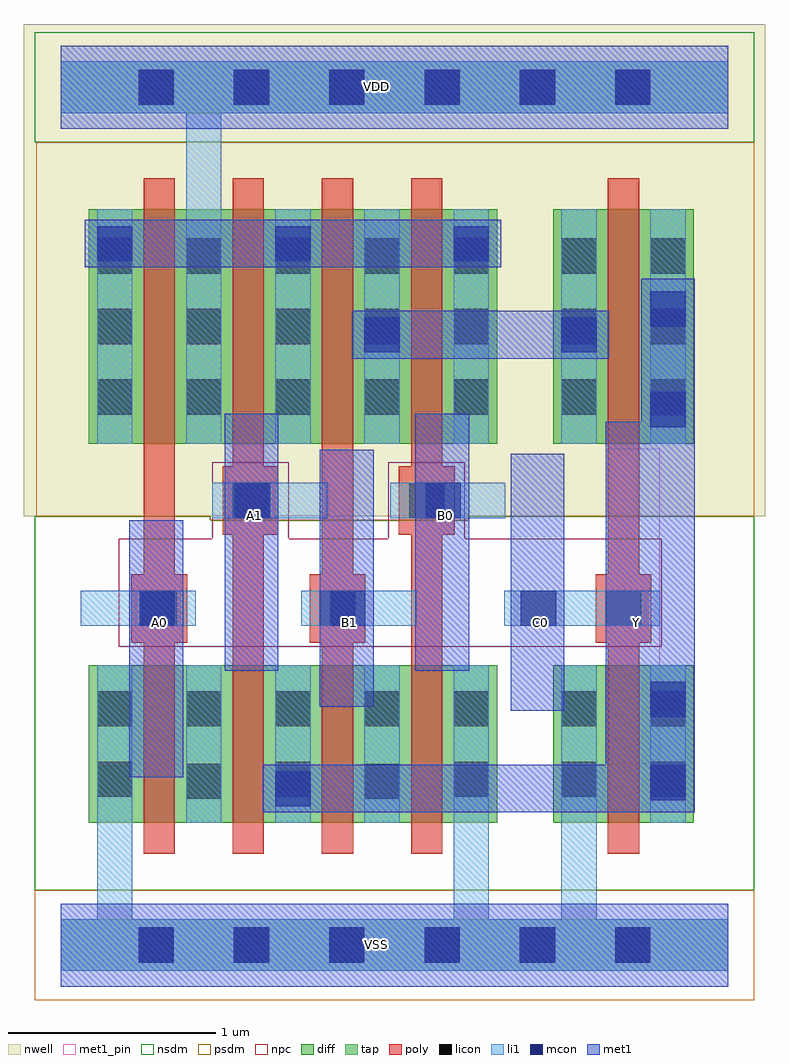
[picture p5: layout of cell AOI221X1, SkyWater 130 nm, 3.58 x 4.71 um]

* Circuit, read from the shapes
.subckt AOI221X1 A0 A1 B0 B1 C0 VDD VSS Y
XM1 n1 A0 VSS VSS sky130_fd_pr__nfet_01v8 w=0.76 l=0.15
XM2 Y A1 n1 VSS sky130_fd_pr__nfet_01v8 w=0.76 l=0.15
XM3 n2 B1 Y VSS sky130_fd_pr__nfet_01v8 w=0.76 l=0.15
XM4 VSS B0 n2 VSS sky130_fd_pr__nfet_01v8 w=0.76 l=0.15
XM5 Y C0 VSS VSS sky130_fd_pr__nfet_01v8 w=0.76 l=0.15
XM6 VDD A0 n3 VDD sky130_fd_pr__pfet_01v8 w=1.13 l=0.15
XM7 n3 A1 VDD VDD sky130_fd_pr__pfet_01v8 w=1.13 l=0.15
XM8 n4 B1 n3 VDD sky130_fd_pr__pfet_01v8 w=1.13 l=0.15
XM9 n3 B0 n4 VDD sky130_fd_pr__pfet_01v8 w=1.13 l=0.15
XM10 Y C0 n4 VDD sky130_fd_pr__pfet_01v8 w=1.13 l=0.15
.ends

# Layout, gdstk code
from math import pi, radians
import gdstk
lib = gdstk.Library(unit=1e-6, precision=1e-09)
def R(c, l, rs):  # rectangles x0, y0, x1, y1
    for r in rs: c.add(gdstk.rectangle(r[:2], r[2:], *l))
def A(c, l, x, y, w, h, nx, ny, dx, dy):  # array of equal rectangles
    R(c, l, [(x+i*dx, y+j*dy, x+i*dx+w, y+j*dy+h) for i in range(nx) for j in range(ny)])
def P(c, l, *ps):  # polygons
    for p in ps: c.add(gdstk.Polygon(p, *l))
nwell = (64, 20)
diff = (65, 20)
tap = (65, 44)
poly = (66, 20)
licon = (66, 44)
li1 = (67, 20)
mcon = (67, 44)
met1_pin = (68, 16)
met1 = (68, 20)
nsdm = (93, 44)
psdm = (94, 20)
npc = (95, 20)

nfet_01v8_cdns_716492285 = lib.new_cell('nfet_01v8_CDNS_716492285220')
R(nfet_01v8_cdns_716492285, diff, [(-0.265,0,0,0.76), (0,0,0.15,0.76), (0.15,0,0.415,0.76)])
R(nfet_01v8_cdns_716492285, poly, [(0,-0.15,0.15,-0.095), (0,-0.095,0.15,0), (0,0,0.15,0.76), (0,0.76,0.15,0.855), (0,0.855,0.15,0.91)])
R(nfet_01v8_cdns_716492285, licon, [(-0.225,0.125,-0.055,0.295), (0.205,0.125,0.375,0.295), (-0.225,0.465,-0.055,0.635), (0.205,0.465,0.375,0.635)])
R(nfet_01v8_cdns_716492285, li1, [(-0.225,0,-0.055,0.76), (0.205,0,0.375,0.76)])
R(nfet_01v8_cdns_716492285, nsdm, [(-0.405,-0.13,0.555,0.89)])

pfet_01v8_cdns_716492285 = lib.new_cell('pfet_01v8_CDNS_716492285222')
R(pfet_01v8_cdns_716492285, nwell, [(-0.445,-0.18,0.595,1.31)])
R(pfet_01v8_cdns_716492285, diff, [(-0.265,0,0,1.13), (0,0,0.15,1.13), (0.15,0,0.415,1.13)])
R(pfet_01v8_cdns_716492285, poly, [(0,-0.15,0.15,-0.095), (0,-0.095,0.15,0), (0,0,0.15,1.13), (0,1.13,0.15,1.225), (0,1.225,0.15,1.28)])
A(pfet_01v8_cdns_716492285, licon, -0.225, 0.14, 0.17, 0.17, 1, 3, 0, 0.34)
A(pfet_01v8_cdns_716492285, licon, 0.205, 0.14, 0.17, 0.17, 1, 3, 0, 0.34)
R(pfet_01v8_cdns_716492285, li1, [(-0.225,0,-0.055,1.13), (0.205,0,0.375,1.13)])
R(pfet_01v8_cdns_716492285, psdm, [(-0.405,-0.13,0.555,1.26)])

c_nfet_01v8_cdns_716492285 = lib.new_cell('nfet_01v8_CDNS_71649228522221')
R(c_nfet_01v8_cdns_716492285, diff, [(-0.265,0,0,0.76), (0,0,0.15,0.76), (0.15,0,0.205,0.76)])
R(c_nfet_01v8_cdns_716492285, poly, [(0,-0.15,0.15,-0.095), (0,-0.095,0.15,0), (0,0,0.15,0.76), (0,0.76,0.15,0.855), (0,0.855,0.15,0.91)])
R(c_nfet_01v8_cdns_716492285, licon, [(-0.225,0.125,-0.055,0.295), (-0.225,0.465,-0.055,0.635)])
R(c_nfet_01v8_cdns_716492285, li1, [(-0.225,0,-0.055,0.76)])
R(c_nfet_01v8_cdns_716492285, nsdm, [(-0.405,-0.13,0.215,0.89)])

c_nfet_01v8_cdns_716492285_ = lib.new_cell('nfet_01v8_CDNS_71649228522165')
R(c_nfet_01v8_cdns_716492285_, diff, [(-0.265,0,0,0.76), (0,0,0.15,0.76), (0.15,0,0.375,0.76)])
R(c_nfet_01v8_cdns_716492285_, poly, [(0,-0.15,0.15,-0.095), (0,-0.095,0.15,0), (0,0,0.15,0.76), (0,0.76,0.15,0.855), (0,0.855,0.15,0.91)])
R(c_nfet_01v8_cdns_716492285_, licon, [(-0.225,0.125,-0.055,0.295), (-0.225,0.465,-0.055,0.635)])
R(c_nfet_01v8_cdns_716492285_, li1, [(-0.225,0,-0.055,0.76)])
R(c_nfet_01v8_cdns_716492285_, nsdm, [(-0.405,-0.13,0.385,0.89)])

c_pfet_01v8_cdns_716492285 = lib.new_cell('pfet_01v8_CDNS_71649228522145')
R(c_pfet_01v8_cdns_716492285, nwell, [(-0.445,-0.18,0.385,1.31)])
R(c_pfet_01v8_cdns_716492285, diff, [(-0.265,0,0,1.13), (0,0,0.15,1.13), (0.15,0,0.205,1.13)])
R(c_pfet_01v8_cdns_716492285, poly, [(0,-0.15,0.15,-0.095), (0,-0.095,0.15,0), (0,0,0.15,1.13), (0,1.13,0.15,1.225), (0,1.225,0.15,1.28)])
A(c_pfet_01v8_cdns_716492285, licon, -0.225, 0.14, 0.17, 0.17, 1, 3, 0, 0.34)
R(c_pfet_01v8_cdns_716492285, li1, [(-0.225,0,-0.055,1.13)])
R(c_pfet_01v8_cdns_716492285, psdm, [(-0.405,-0.13,0.215,1.26)])

c_pfet_01v8_cdns_716492285_ = lib.new_cell('pfet_01v8_CDNS_7164922852212')
R(c_pfet_01v8_cdns_716492285_, nwell, [(-0.405,-0.18,0.595,1.31)])
R(c_pfet_01v8_cdns_716492285_, diff, [(-0.225,0,0,1.13), (0,0,0.15,1.13), (0.15,0,0.415,1.13)])
R(c_pfet_01v8_cdns_716492285_, poly, [(0,-0.15,0.15,-0.095), (0,-0.095,0.15,0), (0,0,0.15,1.13), (0,1.13,0.15,1.225), (0,1.225,0.15,1.28)])
A(c_pfet_01v8_cdns_716492285_, licon, -0.225, 0.14, 0.17, 0.17, 1, 3, 0, 0.34)
A(c_pfet_01v8_cdns_716492285_, licon, 0.205, 0.14, 0.17, 0.17, 1, 3, 0, 0.34)
R(c_pfet_01v8_cdns_716492285_, li1, [(-0.225,0,-0.055,1.13), (0.205,0,0.375,1.13)])
R(c_pfet_01v8_cdns_716492285_, psdm, [(-0.235,-0.13,0.555,1.26)])

c_nfet_01v8_cdns_716492285__ = lib.new_cell('nfet_01v8_CDNS_71649228522127')
R(c_nfet_01v8_cdns_716492285__, diff, [(-0.055,0,0,0.76), (0,0,0.15,0.76), (0.15,0,0.375,0.76)])
R(c_nfet_01v8_cdns_716492285__, poly, [(0,-0.15,0.15,-0.095), (0,-0.095,0.15,0), (0,0,0.15,0.76), (0,0.76,0.15,0.855), (0,0.855,0.15,0.91)])
R(c_nfet_01v8_cdns_716492285__, licon, [(0.205,0.125,0.375,0.295), (0.205,0.465,0.375,0.635)])
R(c_nfet_01v8_cdns_716492285__, li1, [(0.205,0,0.375,0.76)])
R(c_nfet_01v8_cdns_716492285__, nsdm, [(-0.065,-0.13,0.385,0.89)])

c_pfet_01v8_cdns_716492285__ = lib.new_cell('pfet_01v8_CDNS_71649228522222')
R(c_pfet_01v8_cdns_716492285__, nwell, [(-0.235,-0.18,0.555,1.31)])
R(c_pfet_01v8_cdns_716492285__, diff, [(-0.055,0,0,1.13), (0,0,0.15,1.13), (0.15,0,0.375,1.13)])
R(c_pfet_01v8_cdns_716492285__, poly, [(0,-0.15,0.15,-0.095), (0,-0.095,0.15,0), (0,0,0.15,1.13), (0,1.13,0.15,1.225), (0,1.225,0.15,1.28)])
A(c_pfet_01v8_cdns_716492285__, licon, 0.205, 0.14, 0.17, 0.17, 1, 3, 0, 0.34)
R(c_pfet_01v8_cdns_716492285__, li1, [(0.205,0,0.375,1.13)])
R(c_pfet_01v8_cdns_716492285__, psdm, [(-0.065,-0.13,0.385,1.26)])

c_pfet_01v8_cdns_716492285___ = lib.new_cell('pfet_01v8_CDNS_71649228522130')
R(c_pfet_01v8_cdns_716492285___, nwell, [(-0.235,-0.18,0.555,1.31)])
R(c_pfet_01v8_cdns_716492285___, diff, [(-0.055,0,0,1.13), (0,0,0.15,1.13), (0.15,0,0.375,1.13)])
R(c_pfet_01v8_cdns_716492285___, poly, [(0,-0.15,0.15,-0.095), (0,-0.095,0.15,0), (0,0,0.15,1.13), (0,1.13,0.15,1.225), (0,1.225,0.15,1.28)])
A(c_pfet_01v8_cdns_716492285___, licon, 0.205, 0.14, 0.17, 0.17, 1, 3, 0, 0.34)
R(c_pfet_01v8_cdns_716492285___, li1, [(0.205,0,0.375,1.13)])
R(c_pfet_01v8_cdns_716492285___, psdm, [(-0.065,-0.13,0.385,1.26)])

c_nfet_01v8_cdns_716492285___ = lib.new_cell('nfet_01v8_CDNS_71649228522220')
R(c_nfet_01v8_cdns_716492285___, diff, [(-0.225,0,0,0.76), (0,0,0.15,0.76), (0.15,0,0.205,0.76)])
R(c_nfet_01v8_cdns_716492285___, poly, [(0,-0.15,0.15,-0.095), (0,-0.095,0.15,0), (0,0,0.15,0.76), (0,0.76,0.15,0.855), (0,0.855,0.15,0.91)])
R(c_nfet_01v8_cdns_716492285___, nsdm, [(-0.235,-0.13,0.215,0.89)])

l1m1_c_cdns_716492285222 = lib.new_cell('L1M1_C_CDNS_716492285222')
R(l1m1_c_cdns_716492285222, li1, [(-0.085,-0.165,0.085,0.165)])
R(l1m1_c_cdns_716492285222, mcon, [(-0.085,-0.085,0.085,0.085)])
R(l1m1_c_cdns_716492285222, met1, [(-0.115,-0.145,0.115,0.145)])

l1m1_c_cdns_716492285223 = lib.new_cell('L1M1_C_CDNS_716492285223')
R(l1m1_c_cdns_716492285223, li1, [(-0.165,-0.085,0.165,0.085)])
R(l1m1_c_cdns_716492285223, mcon, [(-0.085,-0.085,0.085,0.085)])
R(l1m1_c_cdns_716492285223, met1, [(-0.115,-0.145,0.115,0.145)])

pyl1con_c_cdns_716492285 = lib.new_cell('PYL1CON_C_CDNS_716492285220')
R(pyl1con_c_cdns_716492285, poly, [(-0.135,-0.165,0.135,0.165)])
R(pyl1con_c_cdns_716492285, licon, [(-0.085,-0.085,0.085,0.085)])
R(pyl1con_c_cdns_716492285, npc, [(-0.185,-0.185,0.185,0.185)])

aoi221x1 = lib.new_cell('AOI221X1')
R(aoi221x1, nwell, [(-0.18,2.07,3.4,4.305), (-0.18,3.875,3.4,4.445)])
A(aoi221x1, licon, 0.375, -0.085, 0.17, 0.17, 6, 2, 0.46, 4.14)
R(aoi221x1, licon, [(0.605,0.705,0.775,0.875), (1.465,0.705,1.635,0.875), (0.605,1.055,0.775,1.225), (1.465,1.055,1.635,1.225)])
A(aoi221x1, mcon, 0.375, -0.085, 0.17, 0.17, 6, 2, 0.46, 4.14)
R(aoi221x1, met1_pin, [(0.33,0.81,0.59,2.05), (2.63,0.875,2.89,2.395), (2.17,1.13,2.43,2.37), (1.25,1.15,1.51,2.39), (0.79,1.325,1.05,2.565), (1.71,1.325,1.97,2.565)])
R(aoi221x1, met1, [(2.63,0.64,3.06,2.525)])
R(aoi221x1, nsdm, [(-0.125,3.875,3.345,4.405), (-0.125,3.93,3.345,4.35)])
P(aoi221x1, nsdm, [(3.345,2.07),(1.965,2.07),(1.965,2.05),(0.72,2.05),(0.72,2.07),(-0.125,2.07),(-0.125,0.265),(3.345,0.265)])
R(aoi221x1, psdm, [(-0.125,-0.265,3.345,0.265), (-0.125,-0.21,3.345,0.21)])
P(aoi221x1, psdm, [(3.345,3.875),(-0.12,3.875),(-0.12,2.07),(0.72,2.07),(0.72,2.05),(1.965,2.05),(1.965,2.07),(3.345,2.07)])
R(aoi221x1, npc, [(0.28,1.44,2.9,1.96)])
aoi221x1.add(gdstk.FlexPath([(2.715,2.27),(2.715,1.5)], 0.15, ends="flush", simple_path=True, layer=66, datatype=20))  # poly
aoi221x1.add(gdstk.FlexPath([(1.765,2.27),(1.765,1.5)], 0.15, ends="flush", simple_path=True, layer=66, datatype=20))  # poly
aoi221x1.add(gdstk.FlexPath([(1.335,2.27),(1.335,1.425)], 0.15, ends="flush", simple_path=True, layer=66, datatype=20))  # poly
aoi221x1.add(gdstk.FlexPath([(0.905,2.27),(0.905,1.425)], 0.15, ends="flush", simple_path=True, layer=66, datatype=20))  # poly
aoi221x1.add(gdstk.FlexPath([(0.475,1.5),(0.475,2.27)], 0.15, ends="flush", simple_path=True, layer=66, datatype=20))  # poly
aoi221x1.add(gdstk.FlexPath([(3.135,0),(0,0)], 0.25, ends=(0.085, 0), simple_path=True, layer=67, datatype=20))  # li1
aoi221x1.add(gdstk.FlexPath([(2.145,2.145),(1.59,2.145)], 0.17, ends="flush", simple_path=True, layer=67, datatype=20))  # li1
aoi221x1.add(gdstk.FlexPath([(2.335,1.625),(2.89,1.625)], 0.17, ends="flush", simple_path=True, layer=67, datatype=20))  # li1
aoi221x1.add(gdstk.FlexPath([(0.095,1.625),(0.65,1.625)], 0.17, ends="flush", simple_path=True, layer=67, datatype=20))  # li1
aoi221x1.add(gdstk.FlexPath([(3.135,4.14),(0,4.14)], 0.25, ends=(0.085, 0), simple_path=True, layer=67, datatype=20))  # li1
aoi221x1.add(gdstk.FlexPath([(2.5,0.59),(2.5,0)], 0.17, ends="flush", simple_path=True, layer=67, datatype=20))  # li1
aoi221x1.add(gdstk.FlexPath([(1.98,0.59),(1.98,0)], 0.17, ends="flush", simple_path=True, layer=67, datatype=20))  # li1
aoi221x1.add(gdstk.FlexPath([(1.55,1.35),(1.55,0.59)], 0.17, ends="flush", simple_path=True, layer=67, datatype=20))  # li1
aoi221x1.add(gdstk.FlexPath([(0.69,4.14),(0.69,3.55)], 0.17, ends="flush", simple_path=True, layer=67, datatype=20))  # li1
aoi221x1.add(gdstk.FlexPath([(0.26,0.59),(0.26,0)], 0.17, ends="flush", simple_path=True, layer=67, datatype=20))  # li1
aoi221x1.add(gdstk.FlexPath([(0.69,1.35),(0.69,0.59)], 0.17, ends="flush", simple_path=True, layer=67, datatype=20))  # li1
aoi221x1.add(gdstk.FlexPath([(1.715,1.625),(1.16,1.625)], 0.17, ends="flush", simple_path=True, layer=67, datatype=20))  # li1
aoi221x1.add(gdstk.FlexPath([(1.285,2.145),(0.73,2.145)], 0.17, ends="flush", simple_path=True, layer=67, datatype=20))  # li1
aoi221x1.add(gdstk.FlexPath([(0,0),(3.22,0)], 0.25, ends="flush", simple_path=True, layer=65, datatype=44))  # tap
aoi221x1.add(gdstk.FlexPath([(0,4.14),(3.22,4.14)], 0.25, ends="flush", simple_path=True, layer=65, datatype=44))  # tap
aoi221x1.add(gdstk.FlexPath([(0,0),(3.22,0)], 0.4, ends="flush", simple_path=True, layer=68, datatype=20))  # met1
aoi221x1.add(gdstk.FlexPath([(0,4.14),(3.22,4.14)], 0.4, ends="flush", simple_path=True, layer=68, datatype=20))  # met1
aoi221x1.add(gdstk.FlexPath([(2.76,2.395),(2.93,2.395)], 0.26, ends="extended", simple_path=True, layer=68, datatype=20))  # met1
aoi221x1.add(gdstk.FlexPath([(2.3,1.13),(2.3,2.37)], 0.26, ends="flush", simple_path=True, layer=68, datatype=20))  # met1
aoi221x1.add(gdstk.FlexPath([(0.92,1.325),(0.92,2.565)], 0.26, ends="flush", simple_path=True, layer=68, datatype=20))  # met1
aoi221x1.add(gdstk.FlexPath([(1.84,1.325),(1.84,2.565)], 0.26, ends="flush", simple_path=True, layer=68, datatype=20))  # met1
aoi221x1.add(gdstk.FlexPath([(0.975,0.755),(3.045,0.755)], 0.23, ends="flush", simple_path=True, layer=68, datatype=20))  # met1
aoi221x1.add(gdstk.FlexPath([(1.405,2.945),(2.645,2.945)], 0.23, ends="flush", simple_path=True, layer=68, datatype=20))  # met1
aoi221x1.add(gdstk.FlexPath([(0.115,3.385),(2.125,3.385)], 0.23, ends="flush", simple_path=True, layer=68, datatype=20))  # met1
aoi221x1.add(gdstk.FlexPath([(2.76,2.395),(2.76,0.77)], 0.26, ends=(0, 0.13), simple_path=True, layer=68, datatype=20))  # met1
aoi221x1.add(gdstk.FlexPath([(2.93,2.395),(2.93,3.07)], 0.26, ends=(0.13, 0.145), simple_path=True, layer=68, datatype=20))  # met1
aoi221x1.add(gdstk.FlexPath([(1.38,1.15),(1.38,2.39)], 0.26, ends="flush", simple_path=True, layer=68, datatype=20))  # met1
aoi221x1.add(gdstk.FlexPath([(0.46,0.81),(0.46,2.05)], 0.26, ends="flush", simple_path=True, layer=68, datatype=20))  # met1
aoi221x1.add(gdstk.FlexPath([(0,4.14),(3.22,4.14)], 0.4, ends="flush", simple_path=True, layer=68, datatype=16))  # met1_pin
aoi221x1.add(gdstk.FlexPath([(0,0),(3.22,0)], 0.4, ends="flush", simple_path=True, layer=68, datatype=16))  # met1_pin
aoi221x1.add(gdstk.Reference(nfet_01v8_cdns_716492285, (2.64,0.59)))
aoi221x1.add(gdstk.Reference(pfet_01v8_cdns_716492285, (2.64,2.42)))
aoi221x1.add(gdstk.Reference(c_nfet_01v8_cdns_716492285, (1.84,0.59), rotation=pi, x_reflection=True))
aoi221x1.add(gdstk.Reference(c_nfet_01v8_cdns_716492285_, (0.4,0.59)))
aoi221x1.add(gdstk.Reference(c_pfet_01v8_cdns_716492285, (1.84,2.42), rotation=pi, x_reflection=True))
aoi221x1.add(gdstk.Reference(c_pfet_01v8_cdns_716492285_, (0.55,2.42), rotation=pi, x_reflection=True))
aoi221x1.add(gdstk.Reference(c_nfet_01v8_cdns_716492285__, (0.83,0.59)))
aoi221x1.add(gdstk.Reference(c_pfet_01v8_cdns_716492285__, (0.83,2.42)))
aoi221x1.add(gdstk.Reference(c_pfet_01v8_cdns_716492285___, (1.26,2.42)))
aoi221x1.add(gdstk.Reference(c_nfet_01v8_cdns_716492285___, (1.41,0.59), rotation=pi, x_reflection=True))
aoi221x1.add(gdstk.Reference(l1m1_c_cdns_716492285222, (2.93,3.07)))
aoi221x1.add(gdstk.Reference(l1m1_c_cdns_716492285222, (2.93,1.185)))
aoi221x1.add(gdstk.Reference(l1m1_c_cdns_716492285222, (2.93,0.785)))
aoi221x1.add(gdstk.Reference(l1m1_c_cdns_716492285222, (2.93,2.585)))
aoi221x1.add(gdstk.Reference(l1m1_c_cdns_716492285223, (2.305,1.625), x_reflection=True))
aoi221x1.add(gdstk.Reference(l1m1_c_cdns_716492285223, (1.845,2.145), x_reflection=True))
aoi221x1.add(gdstk.Reference(l1m1_c_cdns_716492285223, (1.385,1.625), x_reflection=True))
aoi221x1.add(gdstk.Reference(l1m1_c_cdns_716492285223, (0.925,2.145), x_reflection=True))
aoi221x1.add(gdstk.Reference(l1m1_c_cdns_716492285223, (1.12,0.755), rotation=pi/2))
aoi221x1.add(gdstk.Reference(l1m1_c_cdns_716492285223, (1.55,2.945), rotation=pi/2))
aoi221x1.add(gdstk.Reference(l1m1_c_cdns_716492285223, (1.98,3.385), rotation=pi/2))
aoi221x1.add(gdstk.Reference(l1m1_c_cdns_716492285223, (1.12,3.385), rotation=pi/2))
aoi221x1.add(gdstk.Reference(l1m1_c_cdns_716492285223, (0.26,3.385), rotation=pi/2))
aoi221x1.add(gdstk.Reference(l1m1_c_cdns_716492285223, (2.5,2.945), rotation=pi/2))
aoi221x1.add(gdstk.Reference(l1m1_c_cdns_716492285223, (0.465,1.625), x_reflection=True))
aoi221x1.add(gdstk.Reference(pyl1con_c_cdns_716492285, (1.765,2.145)))
aoi221x1.add(gdstk.Reference(pyl1con_c_cdns_716492285, (0.915,2.145)))
aoi221x1.add(gdstk.Reference(pyl1con_c_cdns_716492285, (1.335,1.625)))
aoi221x1.add(gdstk.Reference(pyl1con_c_cdns_716492285, (0.475,1.625)))
aoi221x1.add(gdstk.Reference(pyl1con_c_cdns_716492285, (2.715,1.625)))
aoi221x1.add(gdstk.Label('VSS', (1.525,0.005), layer=68, texttype=5))
aoi221x1.add(gdstk.Label('VDD', (1.525,4.145), layer=68, texttype=5))
aoi221x1.add(gdstk.Label('B0', (1.855,2.075), layer=68, texttype=5))
aoi221x1.add(gdstk.Label('C0', (2.315,1.555), layer=68, texttype=5))
aoi221x1.add(gdstk.Label('B1', (1.395,1.555), layer=68, texttype=5))
aoi221x1.add(gdstk.Label('Y', (2.78,1.555), layer=68, texttype=5))
aoi221x1.add(gdstk.Label('A0', (0.475,1.555), layer=68, texttype=5))
aoi221x1.add(gdstk.Label('A1', (0.935,2.075), layer=68, texttype=5))

lib.write_gds('AOI221X1.gds')
